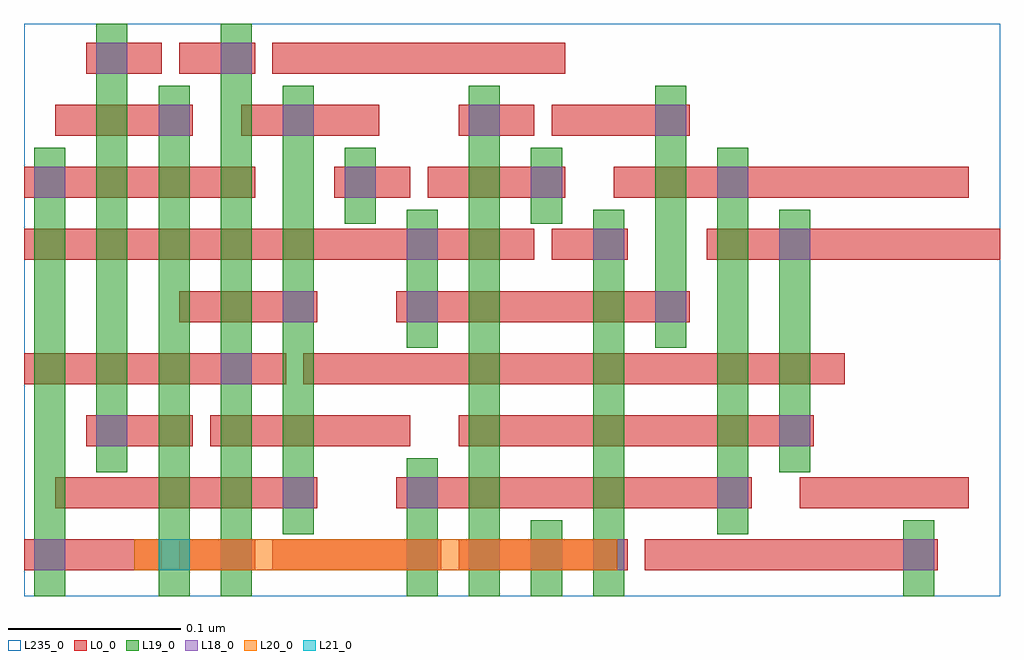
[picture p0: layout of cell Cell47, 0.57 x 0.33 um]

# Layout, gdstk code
import gdstk
lib = gdstk.Library(unit=1e-6, precision=2.5e-10)
def R(c, l, rs):  # rectangles x0, y0, x1, y1
    for r in rs: c.add(gdstk.rectangle(r[:2], r[2:], *l))
def A(c, l, x, y, w, h, nx, ny, dx, dy):  # array of equal rectangles
    R(c, l, [(x+i*dx, y+j*dy, x+i*dx+w, y+j*dy+h) for i in range(nx) for j in range(ny)])
L0_0 = (0, 0)
L18_0 = (18, 0)
L19_0 = (19, 0)
L20_0 = (20, 0)
L21_0 = (21, 0)
L235_0 = (235, 0)

cell47 = lib.new_cell('Cell47')
R(cell47, L0_0, [(0.004,-0.001,0.084,0.017), (0.094,-0.001,0.138,0.017), (0.148,-0.001,0.246,0.017), (0.256,-0.001,0.354,0.017), (0.364,-0.001,0.534,0.017), (0.022,0.035,0.174,0.053), (0.22,0.035,0.426,0.053), (0.454,0.035,0.552,0.053), (0.04,0.071,0.102,0.089), (0.112,0.071,0.228,0.089), (0.256,0.071,0.462,0.089), (0.004,0.107,0.156,0.125), (0.166,0.107,0.48,0.125), (0.094,0.143,0.174,0.161), (0.22,0.143,0.39,0.161), (0.004,0.179,0.3,0.197), (0.31,0.179,0.354,0.197), (0.4,0.179,0.57,0.197), (0.004,0.215,0.138,0.233), (0.184,0.215,0.228,0.233), (0.238,0.215,0.318,0.233), (0.346,0.215,0.552,0.233), (0.022,0.251,0.102,0.269), (0.13,0.251,0.21,0.269), (0.256,0.251,0.3,0.269), (0.31,0.251,0.39,0.269), (0.04,0.287,0.084,0.305), (0.094,0.287,0.138,0.305), (0.148,0.287,0.318,0.305)])
A(cell47, L18_0, 0.01, -0.001, 0.018, 0.018, 3, 1, 0.108, 0)
A(cell47, L18_0, 0.262, -0.001, 0.018, 0.018, 3, 1, 0.036, 0)
A(cell47, L18_0, 0.226, 0.179, 0.018, 0.018, 3, 1, 0.108, 0)
A(cell47, L18_0, 0.19, 0.215, 0.018, 0.018, 3, 1, 0.108, 0)
A(cell47, L18_0, 0.154, 0.251, 0.018, 0.018, 3, 1, 0.108, 0)
R(cell47, L18_0, [(0.514,-0.001,0.532,0.017), (0.154,0.035,0.172,0.053), (0.226,0.035,0.244,0.053), (0.406,0.035,0.424,0.053), (0.046,0.071,0.064,0.089), (0.442,0.071,0.46,0.089), (0.118,0.107,0.136,0.125), (0.154,0.143,0.172,0.161), (0.226,0.143,0.244,0.161), (0.37,0.143,0.388,0.161), (0.01,0.215,0.028,0.233), (0.082,0.251,0.1,0.269), (0.046,0.287,0.064,0.305), (0.118,0.287,0.136,0.305)])
R(cell47, L19_0, [(0.01,-0.016,0.028,0.244), (0.082,-0.016,0.1,0.28), (0.118,-0.016,0.136,0.316), (0.226,-0.016,0.244,0.064), (0.262,-0.016,0.28,0.28), (0.298,-0.016,0.316,0.028), (0.334,-0.016,0.352,0.208), (0.514,-0.016,0.532,0.028), (0.154,0.02,0.172,0.28), (0.406,0.02,0.424,0.244), (0.046,0.056,0.064,0.316), (0.442,0.056,0.46,0.208), (0.226,0.128,0.244,0.208), (0.37,0.128,0.388,0.28), (0.19,0.2,0.208,0.244), (0.298,0.2,0.316,0.244)])
R(cell47, L20_0, [(0.068,-0.001,0.348,0.017)])
R(cell47, L21_0, [(0.082,-0.001,0.1,0.017)])
R(cell47, L235_0, [(0.004,-0.016,0.57,0.316)])

lib.write_gds('Cell47.gds')
